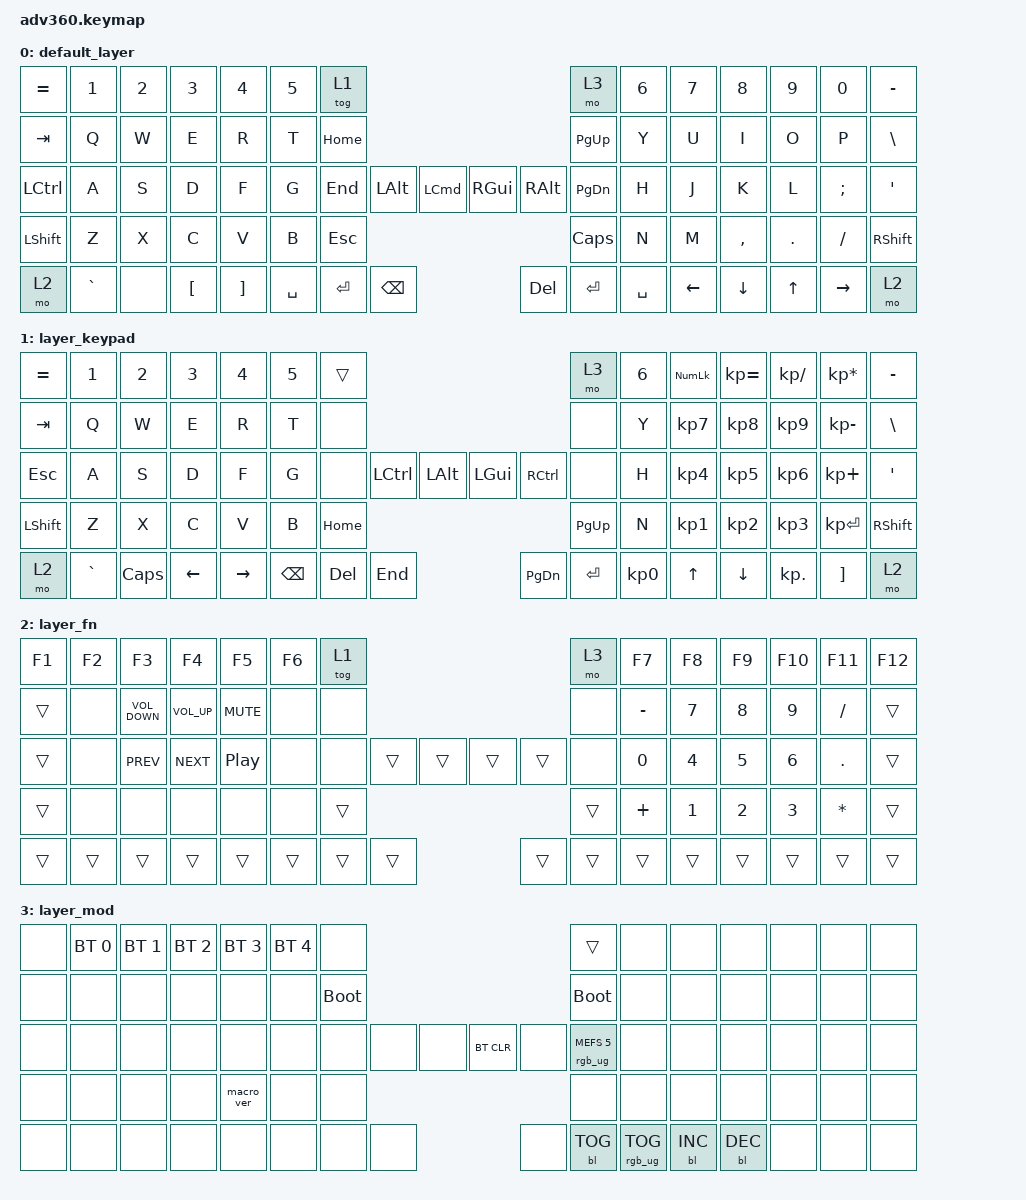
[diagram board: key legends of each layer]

/*
 * Copyright (c) 2020 The ZMK Contributors
 *
 * SPDX-License-Identifier: MIT
 */


/* THIS FILE WAS GENERATED!
 *
 * This file was generated automatically. You may or may not want to
 * edit it directly.
 */

#include <behaviors.dtsi>
#include <dt-bindings/zmk/keys.h>
#include <dt-bindings/zmk/bt.h>
#include <dt-bindings/zmk/rgb.h>
#include <dt-bindings/zmk/backlight.h>

/ {
  behaviors {
    #include "macros.dtsi"
    #include "version.dtsi"

    hm: homerow_mods {
        compatible = "zmk,behavior-hold-tap";
        label = "HOMEROW_MODS";
        #binding-cells = <2>;
        tapping-term-ms = <200>;
        quick_tap_ms = <175>;
        flavor = "tap-preferred";
        bindings = <&kp>, <&kp>;
    };
  };

    keymap {
        compatible = "zmk,keymap";


        default_layer {
            bindings = <
        &kp EQUAL  &kp NUMBER_1  &kp N2      &kp NUMBER_3       &kp NUMBER_4  &kp NUMBER_5               &tog 1                                                                                     &mo 3  &kp NUMBER_6  &kp NUMBER_7  &kp NUMBER_8  &kp NUMBER_9  &kp NUMBER_0         &kp MINUS
          &kp TAB         &kp Q   &kp W             &kp E              &kp R         &kp T             &kp HOME                                                                               &kp PAGE_UP         &kp Y         &kp U         &kp I         &kp O         &kp P     &kp BACKSLASH
 &kp LEFT_CONTROL         &kp A   &kp S             &kp D              &kp F         &kp G              &kp END  &kp LEFT_ALT       &kp LCMD                  &kp RIGHT_GUI  &kp RIGHT_ALT  &kp PAGE_DOWN         &kp H         &kp J         &kp K         &kp L      &kp SEMI  &kp SINGLE_QUOTE
        &kp LSHFT         &kp Z   &kp X             &kp C              &kp V         &kp B                                        &kp ESCAPE                       &kp CAPS                                       &kp N         &kp M     &kp COMMA       &kp DOT      &kp FSLH         &kp RSHFT
            &mo 2     &kp GRAVE   &none  &kp LEFT_BRACKET  &kp RIGHT_BRACKET                          &kp SPACE     &kp ENTER  &kp BACKSPACE                     &kp DELETE      &kp ENTER      &kp SPACE                    &kp LEFT      &kp DOWN        &kp UP     &kp RIGHT             &mo 2
            >;
        };

        layer_keypad {
            bindings = <
 &kp EQUAL     &kp N1    &kp N2    &kp N3     &kp N4  &kp N5              &trans                                                                 &mo 3  &kp N6  &kp KP_NUM  &kp KP_EQUAL  &kp KP_DIVIDE  &kp KP_MULTIPLY  &kp MINUS
   &kp TAB      &kp Q     &kp W     &kp E      &kp R   &kp T               &none                                                                 &none   &kp Y   &kp KP_N7     &kp KP_N8      &kp KP_N9     &kp KP_MINUS   &kp BSLH
   &kp ESC      &kp A     &kp S     &kp D      &kp F   &kp G               &none  &kp LCTRL  &kp LALT                   &kp LGUI  &kp RCTRL      &none   &kp H   &kp KP_N4     &kp KP_N5      &kp KP_N6      &kp KP_PLUS    &kp SQT
 &kp LSHFT      &kp Z     &kp X     &kp C      &kp V   &kp B                                 &kp HOME                  &kp PG_UP                         &kp N   &kp KP_N1     &kp KP_N2      &kp KP_N3     &kp KP_ENTER  &kp RSHFT
     &mo 2  &kp GRAVE  &kp CAPS  &kp LEFT  &kp RIGHT                    &kp BSPC    &kp DEL   &kp END                  &kp PG_DN  &kp ENTER  &kp KP_N0              &kp UP      &kp DOWN     &kp KP_DOT         &kp RBKT      &mo 2
            >;
        };

        layer_fn {
            bindings = <
 &kp F1  &kp F2             &kp F3           &kp F4            &kp F5  &kp F6            &tog 1                                                   &mo 3     &kp F7        &kp F8        &kp F9       &kp F10    &kp F11  &kp F12
 &trans   &none  &kp C_VOLUME_DOWN  &kp C_VOLUME_UP        &kp C_MUTE   &none             &none                                                   &none  &kp MINUS  &kp NUMBER_7  &kp NUMBER_8  &kp NUMBER_9  &kp SLASH   &trans
 &trans   &none         &kp C_PREV       &kp C_NEXT  &kp C_PLAY_PAUSE   &none             &none  &trans  &trans                  &trans  &trans   &none     &kp N0  &kp NUMBER_4  &kp NUMBER_5  &kp NUMBER_6    &kp DOT   &trans
 &trans   &none              &none            &none             &none   &none                            &trans                  &trans                   &kp PLUS  &kp NUMBER_1  &kp NUMBER_2  &kp NUMBER_3   &kp STAR   &trans
 &trans  &trans             &trans           &trans            &trans                    &trans  &trans  &trans                  &trans  &trans  &trans                   &trans        &trans        &trans     &trans   &trans
            >;
        };

        layer_mod {
            bindings = <
  &none  &bt BT_SEL 0  &bt BT_SEL 1  &bt BT_SEL 2  &bt BT_SEL 3  &bt BT_SEL 4                  &none                                                                          &trans   &none       &none       &none   &none   &none   &none
  &none         &none         &none         &none         &none         &none            &bootloader                                                                     &bootloader   &none       &none       &none   &none   &none   &none
  &none         &none         &none         &none         &none         &none                  &none   &none   &none                  &bt BT_CLR       &none  &rgb_ug RGB_MEFS_CMD 5   &none       &none       &none   &none   &none   &none
  &none         &none         &none         &none    &macro_ver         &none                                  &none                       &none                                       &none       &none       &none   &none   &none   &none
  &none         &none         &none         &none         &none                                &none   &none   &none                       &none  &bl BL_TOG         &rgb_ug RGB_TOG          &bl BL_INC  &bl BL_DEC   &none   &none   &none
            >;
        };

    };
};
